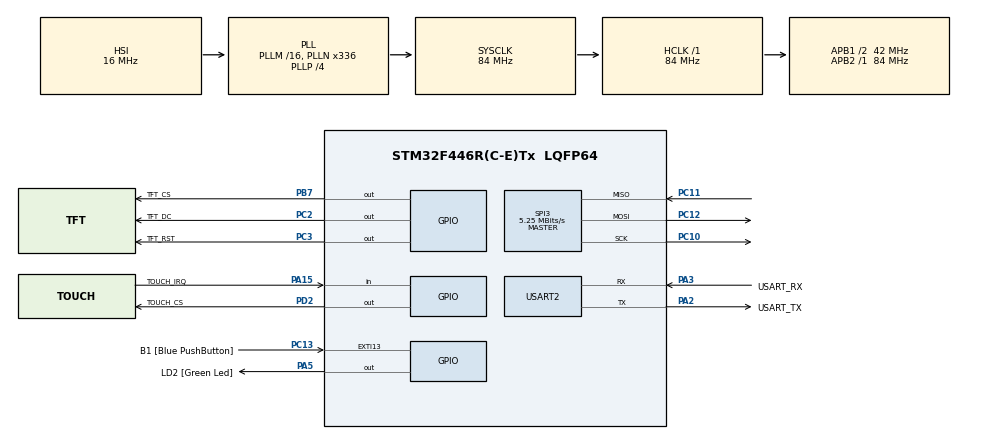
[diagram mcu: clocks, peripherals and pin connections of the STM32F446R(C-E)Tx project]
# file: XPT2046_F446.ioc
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Mcu.Family=STM32F4
Mcu.Name=STM32F446R(C-E)Tx
Mcu.Package=LQFP64
NVIC.PriorityGroup=NVIC_PRIORITYGROUP_0
PA13.GPIO_Label=TMS
PA13.Mode=Serial_Wire
PA13.Signal=SYS_JTMS-SWDIO
PA14.GPIO_Label=TCK
PA14.Mode=Serial_Wire
PA14.Signal=SYS_JTCK-SWCLK
PA15.GPIO_Label=TOUCH_IRQ
PA15.Signal=GPIO_Input
PA2.GPIO_Label=USART_TX
PA2.Mode=Asynchronous
PA2.Signal=USART2_TX
PA3.GPIO_Label=USART_RX
PA3.Mode=Asynchronous
PA3.Signal=USART2_RX
PA5.GPIO_Label=LD2 [Green Led]
PA5.Signal=GPIO_Output
PB3.GPIO_Label=SWO
PB3.Signal=SYS_JTDO-SWO
PB7.GPIO_Label=TFT_CS
PB7.Signal=GPIO_Output
PC10.Mode=Full_Duplex_Master
PC10.Signal=SPI3_SCK
PC11.Mode=Full_Duplex_Master
PC11.Signal=SPI3_MISO
PC12.Mode=Full_Duplex_Master
PC12.Signal=SPI3_MOSI
PC13.GPIO_Label=B1 [Blue PushButton]
PC13.GPIO_ModeDefaultEXTI=GPIO_MODE_IT_FALLING
PC13.Signal=GPXTI13
PC14-OSC32_IN.Mode=LSE-External-Oscillator
PC14-OSC32_IN.Signal=RCC_OSC32_IN
PC15-OSC32_OUT.Mode=LSE-External-Oscillator
PC15-OSC32_OUT.Signal=RCC_OSC32_OUT
PC2.GPIO_Label=TFT_DC
PC2.Signal=GPIO_Output
PC3.GPIO_Label=TFT_RST
PC3.Signal=GPIO_Output
PD2.GPIO_Label=TOUCH_CS
PD2.Signal=GPIO_Output
PH0-OSC_IN.Mode=HSE-External-Oscillator
PH0-OSC_IN.Signal=RCC_OSC_IN
PH1-OSC_OUT.Mode=HSE-External-Oscillator
PH1-OSC_OUT.Signal=RCC_OSC_OUT
ProjectManager.HeapSize=0x200
ProjectManager.StackSize=0x400
ProjectManager.TargetToolchain=SW4STM32
RCC.48MHZClocksFreq_Value=84000000
RCC.AHBFreq_Value=84000000
RCC.APB1CLKDivider=RCC_HCLK_DIV2
RCC.APB1Freq_Value=42000000
RCC.APB1TimFreq_Value=84000000
RCC.APB2Freq_Value=84000000
RCC.APB2TimFreq_Value=84000000
RCC.CortexFreq_Value=84000000
RCC.FLatency-AdvancedSettings=FLASH_LATENCY_2
RCC.HCLKFreq_Value=84000000
RCC.HSE_VALUE=8000000
RCC.HSI_VALUE=16000000
RCC.PLLN=336
RCC.PLLP=RCC_PLLP_DIV4
RCC.SYSCLKFreq_VALUE=84000000
RCC.SYSCLKSource=RCC_SYSCLKSOURCE_PLLCLK
RCC.USBFreq_Value=168000000
RCC.VCOOutputFreq_Value=336000000
SPI3.BaudRatePrescaler=SPI_BAUDRATEPRESCALER_8
SPI3.CalculateBaudRate=5.25 MBits/s
SPI3.Direction=SPI_DIRECTION_2LINES
SPI3.Mode=SPI_MODE_MASTER
SPI3.VirtualType=VM_MASTER
USART2.VirtualMode=VM_ASYNC
board=NUCLEO-F446RE

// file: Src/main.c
/* USER CODE BEGIN Header */
/**
  ******************************************************************************
  * @file           : main.c
  * @brief          : Main program body
  ******************************************************************************
  * @attention
  *
  * <h2><center>&copy; Copyright (c) 2020 STMicroelectronics.
  * All rights reserved.</center></h2>
  *
  * This software component is licensed by ST under BSD 3-Clause license,
  * the "License"; You may not use this file except in compliance with the
  * License. You may obtain a copy of the License at:
  *                        opensource.org/licenses/BSD-3-Clause
  *
  ******************************************************************************
  */
/* USER CODE END Header */

#include "main.h"

/* USER CODE BEGIN Includes */
#include "string.h"
#include "stdio.h"
#include "stdarg.h"
#include "stdlib.h"
#include "ili9486.h"
#include "xpt2046.h"
/* USER CODE END Includes */

SPI_HandleTypeDef hspi3;

UART_HandleTypeDef huart2;

/* USER CODE BEGIN PV */
void UART_Printf(const char* fmt, ...) {
    char buff[256];
    va_list args;
    va_start(args, fmt);
    vsnprintf(buff, sizeof(buff), fmt, args);
    HAL_UART_Transmit(&huart2, (uint8_t*)buff, strlen(buff), HAL_MAX_DELAY);
    va_end(args);
}
/* USER CODE END PV */

void SystemClock_Config(void);
static void MX_GPIO_Init(void);
static void MX_SPI3_Init(void);
static void MX_USART2_UART_Init(void);

int main(void)
{

  /* MCU Configuration--------------------------------------------------------*/

  /* Reset of all peripherals, Initializes the Flash interface and the Systick. */
  HAL_Init();

  /* Configure the system clock */
  SystemClock_Config();

  /* Initialize all configured peripherals */
  MX_GPIO_Init();
  MX_SPI3_Init();
  MX_USART2_UART_Init();
  /* USER CODE BEGIN 2 */
  UART_Printf("Ready\r\n");
  begin();
  fillScreen(ILI9486_BLACK);
  /* USER CODE END 2 */

  /* Infinite loop */
  while (1)
  {

    /* USER CODE BEGIN 3 */
    if(HAL_GPIO_ReadPin(TOUCH_IRQ_GPIO_Port, TOUCH_IRQ_Pin) == 0)
    {
        update();
        UART_Printf("%d %d %d %d %d\r\n", point_x, point_y, xraw, yraw, zraw);
        drawPixel(point_x, point_y, ILI9486_YELLOW);
        HAL_Delay(10);
    }

  }
  /* USER CODE END 3 */
}

void SystemClock_Config(void)
{
  RCC_OscInitTypeDef RCC_OscInitStruct = {0};
  RCC_ClkInitTypeDef RCC_ClkInitStruct = {0};

  /** Configure the main internal regulator output voltage
  */
  __HAL_RCC_PWR_CLK_ENABLE();
  __HAL_PWR_VOLTAGESCALING_CONFIG(PWR_REGULATOR_VOLTAGE_SCALE3);
  /** Initializes the CPU, AHB and APB busses clocks
  */
  RCC_OscInitStruct.OscillatorType = RCC_OSCILLATORTYPE_HSI;
  RCC_OscInitStruct.HSIState = RCC_HSI_ON;
  RCC_OscInitStruct.HSICalibrationValue = RCC_HSICALIBRATION_DEFAULT;
  RCC_OscInitStruct.PLL.PLLState = RCC_PLL_ON;
  RCC_OscInitStruct.PLL.PLLSource = RCC_PLLSOURCE_HSI;
  RCC_OscInitStruct.PLL.PLLM = 16;
  RCC_OscInitStruct.PLL.PLLN = 336;
  RCC_OscInitStruct.PLL.PLLP = RCC_PLLP_DIV4;
  RCC_OscInitStruct.PLL.PLLQ = 2;
  RCC_OscInitStruct.PLL.PLLR = 2;
  if (HAL_RCC_OscConfig(&RCC_OscInitStruct) != HAL_OK)
  {
    Error_Handler();
  }
  /** Initializes the CPU, AHB and APB busses clocks
  */
  RCC_ClkInitStruct.ClockType = RCC_CLOCKTYPE_HCLK|RCC_CLOCKTYPE_SYSCLK
                              |RCC_CLOCKTYPE_PCLK1|RCC_CLOCKTYPE_PCLK2;
  RCC_ClkInitStruct.SYSCLKSource = RCC_SYSCLKSOURCE_PLLCLK;
  RCC_ClkInitStruct.AHBCLKDivider = RCC_SYSCLK_DIV1;
  RCC_ClkInitStruct.APB1CLKDivider = RCC_HCLK_DIV2;
  RCC_ClkInitStruct.APB2CLKDivider = RCC_HCLK_DIV1;

  if (HAL_RCC_ClockConfig(&RCC_ClkInitStruct, FLASH_LATENCY_2) != HAL_OK)
  {
    Error_Handler();
  }
}

static void MX_SPI3_Init(void)
{

  /* SPI3 parameter configuration*/
  hspi3.Instance = SPI3;
  hspi3.Init.Mode = SPI_MODE_MASTER;
  hspi3.Init.Direction = SPI_DIRECTION_2LINES;
  hspi3.Init.DataSize = SPI_DATASIZE_8BIT;
  hspi3.Init.CLKPolarity = SPI_POLARITY_LOW;
  hspi3.Init.CLKPhase = SPI_PHASE_1EDGE;
  hspi3.Init.NSS = SPI_NSS_SOFT;
  hspi3.Init.BaudRatePrescaler = SPI_BAUDRATEPRESCALER_2;
  hspi3.Init.FirstBit = SPI_FIRSTBIT_MSB;
  hspi3.Init.TIMode = SPI_TIMODE_DISABLE;
  hspi3.Init.CRCCalculation = SPI_CRCCALCULATION_DISABLE;
  hspi3.Init.CRCPolynomial = 10;
  if (HAL_SPI_Init(&hspi3) != HAL_OK)
  {
    Error_Handler();
  }

}

static void MX_USART2_UART_Init(void)
{

  huart2.Instance = USART2;
  huart2.Init.BaudRate = 115200;
  huart2.Init.WordLength = UART_WORDLENGTH_8B;
  huart2.Init.StopBits = UART_STOPBITS_1;
  huart2.Init.Parity = UART_PARITY_NONE;
  huart2.Init.Mode = UART_MODE_TX_RX;
  huart2.Init.HwFlowCtl = UART_HWCONTROL_NONE;
  huart2.Init.OverSampling = UART_OVERSAMPLING_16;
  if (HAL_UART_Init(&huart2) != HAL_OK)
  {
    Error_Handler();
  }

}

static void MX_GPIO_Init(void)
{
  GPIO_InitTypeDef GPIO_InitStruct = {0};

  /* GPIO Ports Clock Enable */
  __HAL_RCC_GPIOC_CLK_ENABLE();
  __HAL_RCC_GPIOH_CLK_ENABLE();
  __HAL_RCC_GPIOA_CLK_ENABLE();
  __HAL_RCC_GPIOD_CLK_ENABLE();
  __HAL_RCC_GPIOB_CLK_ENABLE();

  /*Configure GPIO pin Output Level */
  HAL_GPIO_WritePin(GPIOC, TFT_DC_Pin|TFT_RST_Pin, GPIO_PIN_RESET);

  /*Configure GPIO pin Output Level */
  HAL_GPIO_WritePin(LD2_GPIO_Port, LD2_Pin, GPIO_PIN_RESET);

  /*Configure GPIO pin Output Level */
  HAL_GPIO_WritePin(TOUCH_CS_GPIO_Port, TOUCH_CS_Pin, GPIO_PIN_RESET);

  /*Configure GPIO pin Output Level */
  HAL_GPIO_WritePin(TFT_CS_GPIO_Port, TFT_CS_Pin, GPIO_PIN_RESET);

  /*Configure GPIO pin : B1_Pin */
  GPIO_InitStruct.Pin = B1_Pin;
  GPIO_InitStruct.Mode = GPIO_MODE_IT_FALLING;
  GPIO_InitStruct.Pull = GPIO_NOPULL;
  HAL_GPIO_Init(B1_GPIO_Port, &GPIO_InitStruct);

  /*Configure GPIO pins : TFT_DC_Pin TFT_RST_Pin */
  GPIO_InitStruct.Pin = TFT_DC_Pin|TFT_RST_Pin;
  GPIO_InitStruct.Mode = GPIO_MODE_OUTPUT_PP;
  GPIO_InitStruct.Pull = GPIO_NOPULL;
  GPIO_InitStruct.Speed = GPIO_SPEED_FREQ_LOW;
  HAL_GPIO_Init(GPIOC, &GPIO_InitStruct);

  /*Configure GPIO pin : LD2_Pin */
  GPIO_InitStruct.Pin = LD2_Pin;
  GPIO_InitStruct.Mode = GPIO_MODE_OUTPUT_PP;
  GPIO_InitStruct.Pull = GPIO_NOPULL;
  GPIO_InitStruct.Speed = GPIO_SPEED_FREQ_LOW;
  HAL_GPIO_Init(LD2_GPIO_Port, &GPIO_InitStruct);

  /*Configure GPIO pin : TOUCH_IRQ_Pin */
  GPIO_InitStruct.Pin = TOUCH_IRQ_Pin;
  GPIO_InitStruct.Mode = GPIO_MODE_INPUT;
  GPIO_InitStruct.Pull = GPIO_NOPULL;
  HAL_GPIO_Init(TOUCH_IRQ_GPIO_Port, &GPIO_InitStruct);

  /*Configure GPIO pin : TOUCH_CS_Pin */
  GPIO_InitStruct.Pin = TOUCH_CS_Pin;
  GPIO_InitStruct.Mode = GPIO_MODE_OUTPUT_PP;
  GPIO_InitStruct.Pull = GPIO_NOPULL;
  GPIO_InitStruct.Speed = GPIO_SPEED_FREQ_LOW;
  HAL_GPIO_Init(TOUCH_CS_GPIO_Port, &GPIO_InitStruct);

  /*Configure GPIO pin : TFT_CS_Pin */
  GPIO_InitStruct.Pin = TFT_CS_Pin;
  GPIO_InitStruct.Mode = GPIO_MODE_OUTPUT_PP;
  GPIO_InitStruct.Pull = GPIO_NOPULL;
  GPIO_InitStruct.Speed = GPIO_SPEED_FREQ_LOW;
  HAL_GPIO_Init(TFT_CS_GPIO_Port, &GPIO_InitStruct);

}

void Error_Handler(void)
{
}

/************************ (C) COPYRIGHT STMicroelectronics *****END OF FILE****/
